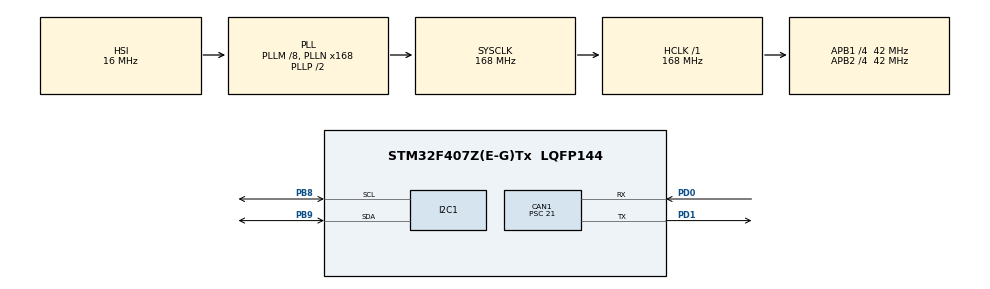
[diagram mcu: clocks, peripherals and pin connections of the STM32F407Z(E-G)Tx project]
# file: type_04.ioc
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CAN1.BS1=CAN_BS1_2TQ
CAN1.CalculateBaudRate=500000
CAN1.CalculateTimeBit=2000
CAN1.CalculateTimeQuantum=500.0
CAN1.Prescaler=21
I2C1.I2C_Mode=I2C_Fast
Mcu.Family=STM32F4
Mcu.Name=STM32F407Z(E-G)Tx
Mcu.Package=LQFP144
NVIC.CAN1_RX0_IRQn=true\:1\:0\:true\:false\:true\:true\:true\:true
NVIC.CAN1_TX_IRQn=true\:1\:0\:true\:false\:true\:true\:true\:true
NVIC.PriorityGroup=NVIC_PRIORITYGROUP_4
NVIC.TIM1_TRG_COM_TIM11_IRQn=true\:0\:0\:false\:false\:true\:true\:true\:true
NVIC.TIM8_TRG_COM_TIM14_IRQn=true\:2\:0\:true\:false\:true\:true\:true\:true
NVIC.TIM8_UP_TIM13_IRQn=true\:0\:0\:false\:false\:true\:true\:true\:true
PA13.Mode=Serial_Wire
PA13.Signal=SYS_JTMS-SWDIO
PA14.Mode=Serial_Wire
PA14.Signal=SYS_JTCK-SWCLK
PB8.Mode=I2C
PB8.Signal=I2C1_SCL
PB9.Mode=I2C
PB9.Signal=I2C1_SDA
PD0.Mode=CAN_Activate
PD0.Signal=CAN1_RX
PD1.Mode=CAN_Activate
PD1.Signal=CAN1_TX
PH0-OSC_IN.Mode=HSE-External-Oscillator
PH0-OSC_IN.Signal=RCC_OSC_IN
PH1-OSC_OUT.Mode=HSE-External-Oscillator
PH1-OSC_OUT.Signal=RCC_OSC_OUT
ProjectManager.HeapSize=0x200
ProjectManager.StackSize=0x400
ProjectManager.TargetToolchain=MDK-ARM V5.32
RCC.48MHZClocksFreq_Value=84000000
RCC.AHBFreq_Value=168000000
RCC.APB1CLKDivider=RCC_HCLK_DIV4
RCC.APB1Freq_Value=42000000
RCC.APB1TimFreq_Value=84000000
RCC.APB2CLKDivider=RCC_HCLK_DIV4
RCC.APB2Freq_Value=42000000
RCC.APB2TimFreq_Value=84000000
RCC.CortexFreq_Value=168000000
RCC.HCLKFreq_Value=168000000
RCC.HSE_VALUE=25000000
RCC.HSI_VALUE=16000000
RCC.LSE_VALUE=32768
RCC.PLLM=8
RCC.PLLN=168
RCC.SYSCLKFreq_VALUE=168000000
RCC.SYSCLKSource=RCC_SYSCLKSOURCE_PLLCLK
RCC.VCOOutputFreq_Value=336000000
STMicroelectronics.X-CUBE-ALGOBUILD.1.3.0.LibraryCcDSPOoLibraryJjDSPOoLibrary=true
TIM11.Period=10000
TIM11.Prescaler=84-1
TIM13.AutoReloadPreload=TIM_AUTORELOAD_PRELOAD_ENABLE
TIM13.Period=5000-1
TIM13.Prescaler=84-1
TIM14.AutoReloadPreload=TIM_AUTORELOAD_PRELOAD_ENABLE
TIM14.Period=10000-1
TIM14.Prescaler=84-1
VP_STMicroelectronics.X-CUBE-ALGOBUILD_VS_DSPOoLibraryJjLibrary_1.3.0_1.3.0.Mode=DSPOoLibraryJjLibrary
VP_TIM11_VS_ClockSourceINT.Mode=Enable_Timer
VP_TIM13_VS_ClockSourceINT.Mode=Enable_Timer
VP_TIM14_VS_ClockSourceINT.Mode=Enable_Timer
board=custom

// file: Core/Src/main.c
/* USER CODE BEGIN Header */
/**
  ******************************************************************************
  * @file           : main.c
  * @brief          : Main program body
  ******************************************************************************
  * @attention
  *
  * Copyright (c) 2023 STMicroelectronics.
  * All rights reserved.
  *
  * This software is licensed under terms that can be found in the LICENSE file
  * in the root directory of this software component.
  * If no LICENSE file comes with this software, it is provided AS-IS.
  *
  ******************************************************************************
  */
/* USER CODE END Header */
#include "main.h"
#include "can.h"
#include "i2c.h"
#include "tim.h"
#include "gpio.h"

/* USER CODE BEGIN Includes */
#include "BRT_encoder.h"
#include "arm_math.h"
#include "MPU6050.h"

#include "IM_TEST.h"
/* USER CODE END Includes */

/* USER CODE BEGIN PTD */
	uint8_t ID ;
	uint32_t STD ;
	int i = 0;

	int x = 0;
	int x_start = 0;
	int y = 0;
	int y_start = 0;

	float x_mm = 0;
	float y_mm = 0;

	extern encoder_data_t encoder_data[4];

	MPU6050_t Mpu6050;
#define FIVE_MS_ERROR   0.00002115 // 网上的漂移数据

/* USER CODE END PTD */

void SystemClock_Config(void);

int main(void)
{

  /* MCU Configuration--------------------------------------------------------*/

  /* Reset of all peripherals, Initializes the Flash interface and the Systick. */
  HAL_Init();

  /* Configure the system clock */
  SystemClock_Config();

  /* Initialize all configured peripherals */
  MX_GPIO_Init();
  MX_CAN1_Init();
  MX_TIM14_Init();
  MX_I2C1_Init();
  MX_TIM13_Init();
  MX_TIM11_Init();
  /* USER CODE BEGIN 2 */

		MPU6050_Init(&hi2c1);
		DMP_Init(&hi2c1);
		HAL_TIM_Base_Start_IT(&htim13);

		HAL_TIM_Base_Start_IT(&htim14);
		can_filter_init();

		ID = 0x03;
		STD = 0x003;
		CAN_CMD_ENCODER(ID,STD);
		HAL_Delay(1);
		ID = 0x01;
		STD = 0x001;
		CAN_CMD_ENCODER(ID,STD);

		HAL_Delay(1);

//		x_start = encoder_data[0].tt_ecd;
//		y_start = encoder_data[2].tt_ecd;

		Mpu6050.ac_error = 0;

	 HAL_TIM_Base_Start_IT(&htim11);
  /* USER CODE END 2 */

  /* Infinite loop */
  while (1)
  {

    /* USER CODE BEGIN 3 */

//		ID = 0x03;
//		STD = 0x003;
//		CAN_CMD_ENCODER(ID,STD);
//		HAL_Delay(1);
//		ID = 0x01;
//		STD = 0x001;
//		CAN_CMD_ENCODER(ID,STD);

//		HAL_Delay(1);
  }
  /* USER CODE END 3 */
}

void SystemClock_Config(void)
{
  RCC_OscInitTypeDef RCC_OscInitStruct = {0};
  RCC_ClkInitTypeDef RCC_ClkInitStruct = {0};

  /** Configure the main internal regulator output voltage
  */
  __HAL_RCC_PWR_CLK_ENABLE();
  __HAL_PWR_VOLTAGESCALING_CONFIG(PWR_REGULATOR_VOLTAGE_SCALE1);

  /** Initializes the RCC Oscillators according to the specified parameters
  * in the RCC_OscInitTypeDef structure.
  */
  RCC_OscInitStruct.OscillatorType = RCC_OSCILLATORTYPE_HSI;
  RCC_OscInitStruct.HSIState = RCC_HSI_ON;
  RCC_OscInitStruct.HSICalibrationValue = RCC_HSICALIBRATION_DEFAULT;
  RCC_OscInitStruct.PLL.PLLState = RCC_PLL_ON;
  RCC_OscInitStruct.PLL.PLLSource = RCC_PLLSOURCE_HSI;
  RCC_OscInitStruct.PLL.PLLM = 8;
  RCC_OscInitStruct.PLL.PLLN = 168;
  RCC_OscInitStruct.PLL.PLLP = RCC_PLLP_DIV2;
  RCC_OscInitStruct.PLL.PLLQ = 4;
  if (HAL_RCC_OscConfig(&RCC_OscInitStruct) != HAL_OK)
  {
    Error_Handler();
  }

  /** Initializes the CPU, AHB and APB buses clocks
  */
  RCC_ClkInitStruct.ClockType = RCC_CLOCKTYPE_HCLK|RCC_CLOCKTYPE_SYSCLK
                              |RCC_CLOCKTYPE_PCLK1|RCC_CLOCKTYPE_PCLK2;
  RCC_ClkInitStruct.SYSCLKSource = RCC_SYSCLKSOURCE_PLLCLK;
  RCC_ClkInitStruct.AHBCLKDivider = RCC_SYSCLK_DIV1;
  RCC_ClkInitStruct.APB1CLKDivider = RCC_HCLK_DIV4;
  RCC_ClkInitStruct.APB2CLKDivider = RCC_HCLK_DIV4;

  if (HAL_RCC_ClockConfig(&RCC_ClkInitStruct, FLASH_LATENCY_5) != HAL_OK)
  {
    Error_Handler();
  }
}

/* USER CODE BEGIN 4 */

void HAL_TIM_PeriodElapsedCallback(TIM_HandleTypeDef *htim)
{

    if (htim == (&htim14))
    {
		//	MPU6050_UPDATE(&hi2c1,&Mpu6050);

				ID = 0x03;
				STD = 0x003;
				CAN_CMD_ENCODER(ID,STD);

//	    	x = encoder_data[0].tt_ecd - x_start;
//				x_mm = x * 0.05859375;

					x = encoder_data[0].tt_ecd-encoder_data[0].last_tt_ecd;
        	x_mm = x * 0.05859375;  // wrong

				ID = 0x01;
				STD = 0x001;
				CAN_CMD_ENCODER(ID,STD);

//				y = encoder_data[2].tt_ecd - y_start;
//				y_mm = y * 0.05859375;

				y = encoder_data[2].tt_ecd-encoder_data[2].last_tt_ecd;
        y_mm = y * 0.05859375;

    }

		if (htim == (&htim13)){

			MPU6050_UPDATE(&hi2c1,&Mpu6050);

			Mpu6050.ac_error += FIVE_MS_ERROR;

		 }

		 if (htim == (&htim11)){

			 rtU.In1 = x_mm;
			 rtU.In2 = y_mm;
			 rtU.In3 = Mpu6050.Yaw;

				IM_TEST_step();

		 }
}

/* USER CODE END 4 */

void Error_Handler(void)
{
  __disable_irq();
  while (1)
  {
  }
}
